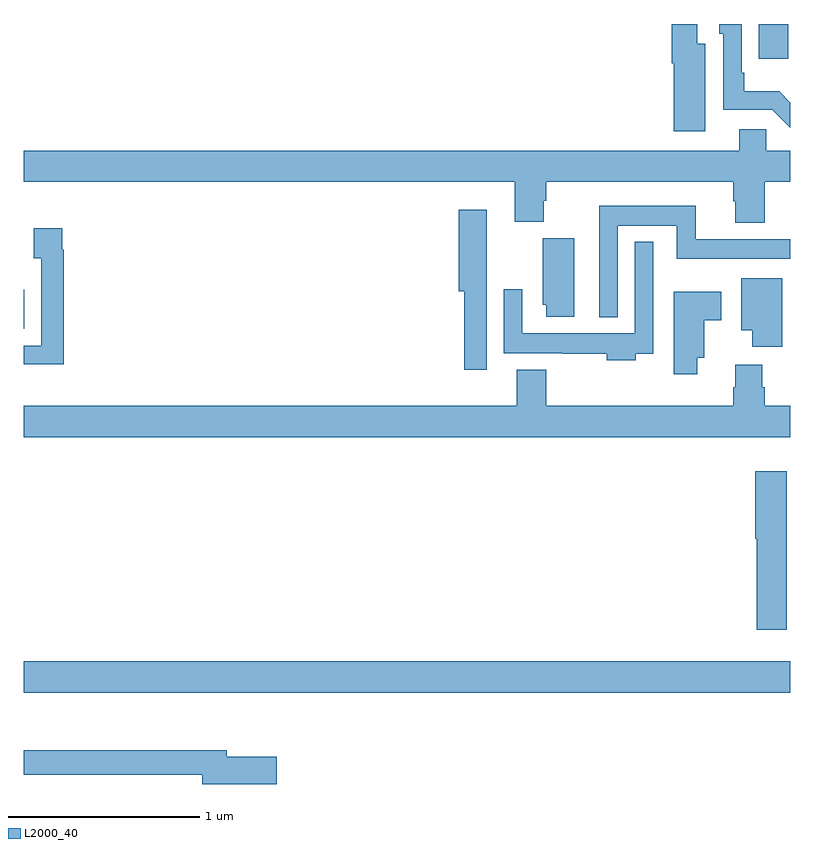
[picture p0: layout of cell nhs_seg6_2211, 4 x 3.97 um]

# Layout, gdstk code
import gdstk
lib = gdstk.Library(unit=1e-6, precision=1e-09)
def R(c, l, rs):  # rectangles x0, y0, x1, y1
    for r in rs: c.add(gdstk.rectangle(r[:2], r[2:], *l))
def P(c, l, *ps):  # polygons
    for p in ps: c.add(gdstk.Polygon(p, *l))
L2000_40 = (2000, 40)

nhs_seg6_2211 = lib.new_cell('nhs_seg6_2211')
R(nhs_seg6_2211, L2000_40, [(243,938.012,247,938.176), (243,939.911,243.004,940.114), (246.836,941.319,246.988,941.5)])
P(nhs_seg6_2211, L2000_40, [(247,941.09),(246.941,941.149),(246.76,941.149),(246.76,941.245),(246.747,941.245),(246.747,941.5),(246.63,941.5),(246.63,941.448),(246.651,941.448),(246.651,941.052),(246.906,941.052),(247,940.958)],
  [(246.556,941.398),(246.514,941.398),(246.514,941.5),(246.38,941.5),(246.38,941.294),(246.392,941.294),(246.392,940.941),(246.556,940.941)],
  [(246.866,940.676),(247,940.676),(247,940.84),(246.873,940.84),(246.873,940.95),(246.734,940.95),(246.734,940.84),(243,940.84),(243,940.676),(245.561,940.676),(245.561,940.468),(245.713,940.468),(245.713,940.577),(245.726,940.577),(245.726,940.676),(246.701,940.676),(246.701,940.575),(246.713,940.575),(246.713,940.463),(246.866,940.463)],
  [(246.099,940.448),(246.408,940.448),(246.408,940.274),(247,940.274),(247,940.378),(246.506,940.378),(246.506,940.552),(246.002,940.552),(246.002,939.971),(246.099,939.971)],
  [(245.415,940.21),(245.416,940.21),(245.416,940.531),(245.27,940.531),(245.27,940.106),(245.299,940.106),(245.299,939.696),(245.415,939.696)],
  [(243.209,940.322),(243.202,940.322),(243.202,940.435),(243.053,940.435),(243.053,940.279),(243.093,940.279),(243.093,939.822),(243,939.822),(243,939.725),(243.209,939.725)],
  [(245.872,940.383),(245.708,940.383),(245.708,940.035),(245.726,940.035),(245.726,939.972),(245.872,939.972)],
  [(246.193,939.78),(246.285,939.78),(246.285,940.363),(246.189,940.363),(246.189,939.886),(245.601,939.886),(245.601,940.117),(245.505,940.117),(245.505,939.782),(245.809,939.782),(245.809,939.78),(246.041,939.78),(246.041,939.746),(246.193,939.746)],
  [(246.958,940.174),(246.743,940.174),(246.743,939.902),(246.8,939.902),(246.8,939.816),(246.958,939.816)],
  [(246.514,939.758),(246.55,939.758),(246.55,939.955),(246.64,939.955),(246.64,940.102),(246.392,940.102),(246.392,939.672),(246.514,939.672)],
  [(247,939.508),(246.866,939.508),(246.866,939.606),(246.853,939.606),(246.853,939.721),(246.713,939.721),(246.713,939.606),(246.701,939.606),(246.701,939.508),(245.726,939.508),(245.726,939.697),(245.573,939.697),(245.573,939.508),(243,939.508),(243,939.344),(247,939.344)],
  [(246.982,939.166),(246.818,939.166),(246.818,938.814),(246.824,938.814),(246.824,938.34),(246.982,938.34)],
  [(244.321,937.677),(244.06,937.677),(244.06,937.711),(243,937.711),(243,937.582),(243.932,937.582),(243.932,937.535),(244.321,937.535)])

lib.write_gds('nhs_seg6_2211.gds')
